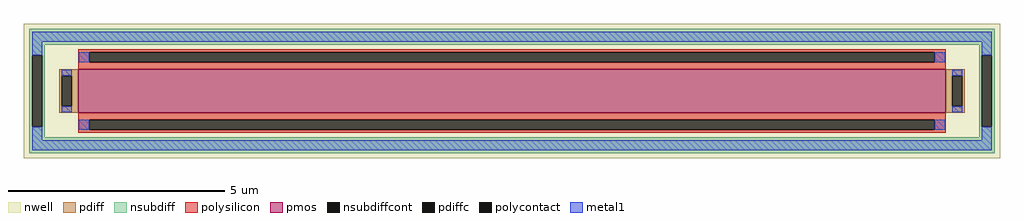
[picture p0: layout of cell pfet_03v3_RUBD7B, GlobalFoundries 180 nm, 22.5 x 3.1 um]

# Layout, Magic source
magic
tech gf180mcuD
magscale 1 10
<< nwell >>
rect -2250 -310 2250 310
<< pmos >>
rect -2000 -100 2000 100
<< pdiff >>
rect -2088 70 -2000 100
rect -2088 -70 -2075 70
rect -2029 -70 -2000 70
rect -2088 -100 -2000 -70
rect 2000 70 2088 100
rect 2000 -70 2029 70
rect 2075 -70 2088 70
rect 2000 -100 2088 -70
<< pdiffc >>
rect -2075 -70 -2029 70
rect 2029 -70 2075 70
<< nsubdiff >>
rect -2226 214 2226 286
rect -2226 164 -2154 214
rect -2226 -164 -2213 164
rect -2167 -164 -2154 164
rect 2154 164 2226 214
rect -2226 -214 -2154 -164
rect 2154 -164 2167 164
rect 2213 -164 2226 164
rect 2154 -214 2226 -164
rect -2226 -286 2226 -214
<< nsubdiffcont >>
rect -2213 -164 -2167 164
rect 2167 -164 2213 164
<< polysilicon >>
rect -2000 179 2000 192
rect -2000 133 -1950 179
rect 1950 133 2000 179
rect -2000 100 2000 133
rect -2000 -133 2000 -100
rect -2000 -179 -1950 -133
rect 1950 -179 2000 -133
rect -2000 -192 2000 -179
<< polycontact >>
rect -1950 133 1950 179
rect -1950 -179 1950 -133
<< metal1 >>
rect -2213 227 2213 273
rect -2213 164 -2167 227
rect -1998 133 -1950 179
rect 1950 133 1998 179
rect 2167 164 2213 227
rect -2075 70 -2029 98
rect -2075 -98 -2029 -70
rect 2029 70 2075 98
rect 2029 -98 2075 -70
rect -2213 -227 -2167 -164
rect -1998 -179 -1950 -133
rect 1950 -179 1998 -133
rect 2167 -227 2213 -164
rect -2213 -273 2213 -227
<< properties >>
string FIXED_BBOX -2190 -250 2190 250
<< end >>
